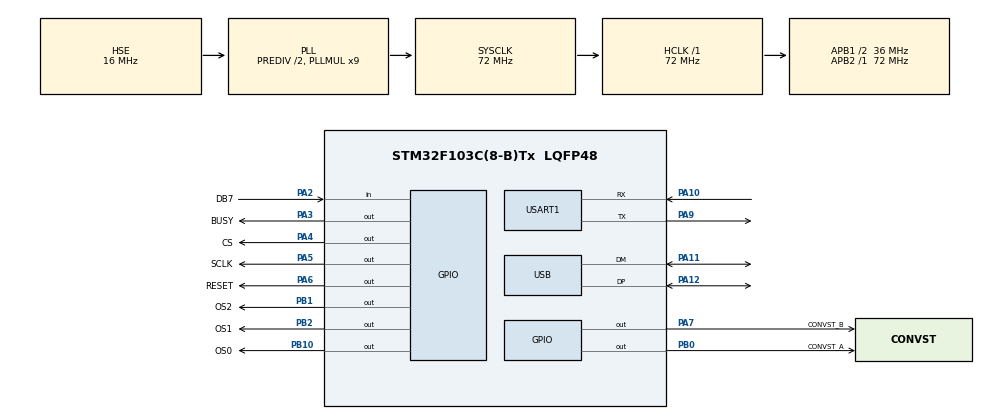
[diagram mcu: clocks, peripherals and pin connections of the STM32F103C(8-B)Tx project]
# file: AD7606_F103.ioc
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Dma.Request0=USART1_TX
Dma.USART1_TX.0.Direction=DMA_MEMORY_TO_PERIPH
Dma.USART1_TX.0.Instance=DMA1_Channel4
Dma.USART1_TX.0.MemDataAlignment=DMA_MDATAALIGN_BYTE
Dma.USART1_TX.0.MemInc=DMA_MINC_ENABLE
Dma.USART1_TX.0.Mode=DMA_NORMAL
Dma.USART1_TX.0.PeriphDataAlignment=DMA_PDATAALIGN_BYTE
Dma.USART1_TX.0.PeriphInc=DMA_PINC_DISABLE
Dma.USART1_TX.0.Priority=DMA_PRIORITY_LOW
Mcu.Family=STM32F1
Mcu.Name=STM32F103C(8-B)Tx
Mcu.Package=LQFP48
NVIC.DMA1_Channel4_IRQn=true\:0\:0\:false\:false\:true\:false\:true\:true
NVIC.PriorityGroup=NVIC_PRIORITYGROUP_4
NVIC.TIM1_UP_IRQn=true\:0\:0\:false\:false\:true\:true\:true\:true
NVIC.USART1_IRQn=true\:0\:0\:false\:false\:true\:true\:true\:true
NVIC.USB_LP_CAN1_RX0_IRQn=true\:0\:0\:false\:false\:true\:false\:true\:true
PA10.Mode=Asynchronous
PA10.Signal=USART1_RX
PA11.Mode=Device
PA11.Signal=USB_DM
PA12.Mode=Device
PA12.Signal=USB_DP
PA13.Mode=Serial_Wire
PA13.Signal=SYS_JTMS-SWDIO
PA14.Mode=Serial_Wire
PA14.Signal=SYS_JTCK-SWCLK
PA2.GPIO_Label=DB7
PA2.Signal=GPIO_Input
PA3.GPIO_Label=BUSY
PA3.GPIO_Speed=GPIO_SPEED_FREQ_MEDIUM
PA3.Signal=GPIO_Output
PA4.GPIO_Label=CS
PA4.GPIO_PuPd=GPIO_PULLUP
PA4.GPIO_Speed=GPIO_SPEED_FREQ_MEDIUM
PA4.Signal=GPIO_Output
PA5.GPIO_Label=SCLK
PA5.GPIO_Speed=GPIO_SPEED_FREQ_MEDIUM
PA5.Signal=GPIO_Output
PA6.GPIO_Label=RESET
PA6.GPIO_Speed=GPIO_SPEED_FREQ_MEDIUM
PA6.Signal=GPIO_Output
PA7.GPIO_Label=CONVST_B
PA7.GPIO_Speed=GPIO_SPEED_FREQ_MEDIUM
PA7.Signal=GPIO_Output
PA9.Mode=Asynchronous
PA9.Signal=USART1_TX
PB0.GPIO_Label=CONVST_A
PB0.Signal=GPIO_Output
PB1.GPIO_Label=OS2
PB1.GPIO_PuPd=GPIO_PULLDOWN
PB1.GPIO_Speed=GPIO_SPEED_FREQ_MEDIUM
PB1.Signal=GPIO_Output
PB10.GPIO_Label=OS0
PB10.GPIO_PuPd=GPIO_PULLDOWN
PB10.GPIO_Speed=GPIO_SPEED_FREQ_MEDIUM
PB10.Signal=GPIO_Output
PB2.GPIO_Label=OS1
PB2.GPIO_PuPd=GPIO_PULLDOWN
PB2.GPIO_Speed=GPIO_SPEED_FREQ_MEDIUM
PB2.Signal=GPIO_Output
PD0-OSC_IN.Mode=HSE-External-Oscillator
PD0-OSC_IN.Signal=RCC_OSC_IN
PD1-OSC_OUT.Mode=HSE-External-Oscillator
PD1-OSC_OUT.Signal=RCC_OSC_OUT
ProjectManager.HeapSize=0x800
ProjectManager.StackSize=0x800
ProjectManager.TargetToolchain=MDK-ARM V5.32
RCC.AHBFreq_Value=72000000
RCC.APB1CLKDivider=RCC_HCLK_DIV2
RCC.APB1Freq_Value=36000000
RCC.APB1TimFreq_Value=72000000
RCC.APB2Freq_Value=72000000
RCC.APB2TimFreq_Value=72000000
RCC.HCLKFreq_Value=72000000
RCC.HSEDivPLL=RCC_HSE_PREDIV_DIV2
RCC.HSE_VALUE=16000000
RCC.PLLMUL=RCC_PLL_MUL9
RCC.SYSCLKFreq_VALUE=72000000
RCC.SYSCLKSource=RCC_SYSCLKSOURCE_PLLCLK
RCC.USBFreq_Value=48000000
RCC.USBPrescaler=RCC_USBCLKSOURCE_PLL_DIV1_5
TIM1.Period=2000-1
TIM1.Prescaler=72-1
USART1.VirtualMode=VM_ASYNC
USB_DEVICE.CLASS_NAME_FS=CDC
USB_DEVICE.VirtualMode=Cdc
USB_DEVICE.VirtualModeFS=Cdc_FS
VP_TIM1_VS_ClockSourceINT.Mode=Internal
VP_USB_DEVICE_VS_USB_DEVICE_CDC_FS.Mode=CDC_FS
board=custom

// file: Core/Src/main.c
/* USER CODE BEGIN Header */
/**
  ******************************************************************************
  * @file           : main.c
  * @brief          : Main program body
  ******************************************************************************
  * @attention
  *
  * Copyright (c) 2025 STMicroelectronics.
  * All rights reserved.
  *
  * This software is licensed under terms that can be found in the LICENSE file
  * in the root directory of this software component.
  * If no LICENSE file comes with this software, it is provided AS-IS.
  *
  ******************************************************************************
  */
/* USER CODE END Header */
#include "main.h"
#include "dma.h"
#include "tim.h"
#include "usart.h"
#include "usb_device.h"
#include "gpio.h"

/* USER CODE BEGIN Includes */
#include "AD7606.h"
/* USER CODE END Includes */

/* USER CODE BEGIN PV */
GPIO_PinState cs_state = 0;
/* USER CODE END PV */

void SystemClock_Config(void);

/* USER CODE BEGIN 0 */
//将USB-P拉低，再拉高，以模拟重新拔插的过程
//注意，此函数需要放在USB初始化函数的前面，否则不会生效
void LL_usb_reload(void)
{

	// 1. 开启时钟并强制复位 USB 外设，确保其回到初始状态
    __HAL_RCC_USB_CLK_ENABLE();
    __HAL_RCC_USB_FORCE_RESET();
    HAL_Delay(10);
    __HAL_RCC_USB_RELEASE_RESET();
	__HAL_RCC_USB_CLK_DISABLE();//使用排除法发现，不是USB抢占的问题，而是GPIO驱动能力不够，无法将电平拉低
  GPIO_InitTypeDef GPIO_InitStruct = {0};

  GPIO_InitStruct.Pin = GPIO_PIN_12;
  GPIO_InitStruct.Mode = GPIO_MODE_OUTPUT_PP;
  GPIO_InitStruct.Pull = GPIO_NOPULL;
	GPIO_InitStruct.Speed = GPIO_SPEED_FREQ_HIGH;//提高驱动能力
  HAL_GPIO_Init(GPIOA, &GPIO_InitStruct);

  HAL_GPIO_WritePin(GPIOA,GPIO_PIN_12,GPIO_PIN_RESET);
  HAL_Delay(500);
	//释放引脚（这里不需要拉高，因为后续 USB 驱动会接管并处理）
	HAL_GPIO_DeInit(GPIOA, GPIO_PIN_12);
//  HAL_GPIO_WritePin(GPIOA,GPIO_PIN_12,GPIO_PIN_SET);
//  HAL_Delay(500);
}

/* USER CODE END 0 */

int main(void)
{

  /* MCU Configuration--------------------------------------------------------*/

  /* Reset of all peripherals, Initializes the Flash interface and the Systick. */
  HAL_Init();

  /* Configure the system clock */
  SystemClock_Config();

  /* USER CODE BEGIN SysInit */
//	LL_usb_reload();//模拟USB重新拔插
  /* USER CODE END SysInit */

  /* Initialize all configured peripherals */
  MX_GPIO_Init();
  MX_DMA_Init();
  MX_USART1_UART_Init();
  MX_USB_DEVICE_Init();
  MX_TIM1_Init();
  /* USER CODE BEGIN 2 */
	ADInit();
	HAL_TIM_Base_Start_IT(&htim1);
  /* USER CODE END 2 */

  /* Infinite loop */
  while (1)
  {

    /* USER CODE BEGIN 3 */
//		if(need_send == 1)
//		{
//			  need_send = 0;
//        HAL_UART_Transmit_DMA(&huart1, tx_buf, 36);
//		}
//    process_uart_transmit();
    // cs_state = HAL_GPIO_ReadPin(GPIOA, GPIO_PIN_4);
  }
  /* USER CODE END 3 */
}

void SystemClock_Config(void)
{
  RCC_OscInitTypeDef RCC_OscInitStruct = {0};
  RCC_ClkInitTypeDef RCC_ClkInitStruct = {0};
  RCC_PeriphCLKInitTypeDef PeriphClkInit = {0};

  /** Initializes the RCC Oscillators according to the specified parameters
  * in the RCC_OscInitTypeDef structure.
  */
  RCC_OscInitStruct.OscillatorType = RCC_OSCILLATORTYPE_HSE;
  RCC_OscInitStruct.HSEState = RCC_HSE_ON;
  RCC_OscInitStruct.HSEPredivValue = RCC_HSE_PREDIV_DIV2;
  RCC_OscInitStruct.HSIState = RCC_HSI_ON;
  RCC_OscInitStruct.PLL.PLLState = RCC_PLL_ON;
  RCC_OscInitStruct.PLL.PLLSource = RCC_PLLSOURCE_HSE;
  RCC_OscInitStruct.PLL.PLLMUL = RCC_PLL_MUL9;
  if (HAL_RCC_OscConfig(&RCC_OscInitStruct) != HAL_OK)
  {
    Error_Handler();
  }

  /** Initializes the CPU, AHB and APB buses clocks
  */
  RCC_ClkInitStruct.ClockType = RCC_CLOCKTYPE_HCLK|RCC_CLOCKTYPE_SYSCLK
                              |RCC_CLOCKTYPE_PCLK1|RCC_CLOCKTYPE_PCLK2;
  RCC_ClkInitStruct.SYSCLKSource = RCC_SYSCLKSOURCE_PLLCLK;
  RCC_ClkInitStruct.AHBCLKDivider = RCC_SYSCLK_DIV1;
  RCC_ClkInitStruct.APB1CLKDivider = RCC_HCLK_DIV2;
  RCC_ClkInitStruct.APB2CLKDivider = RCC_HCLK_DIV1;

  if (HAL_RCC_ClockConfig(&RCC_ClkInitStruct, FLASH_LATENCY_2) != HAL_OK)
  {
    Error_Handler();
  }
  PeriphClkInit.PeriphClockSelection = RCC_PERIPHCLK_USB;
  PeriphClkInit.UsbClockSelection = RCC_USBCLKSOURCE_PLL_DIV1_5;
  if (HAL_RCCEx_PeriphCLKConfig(&PeriphClkInit) != HAL_OK)
  {
    Error_Handler();
  }
}

void Error_Handler(void)
{
  __disable_irq();
  while (1)
  {
  }
}
